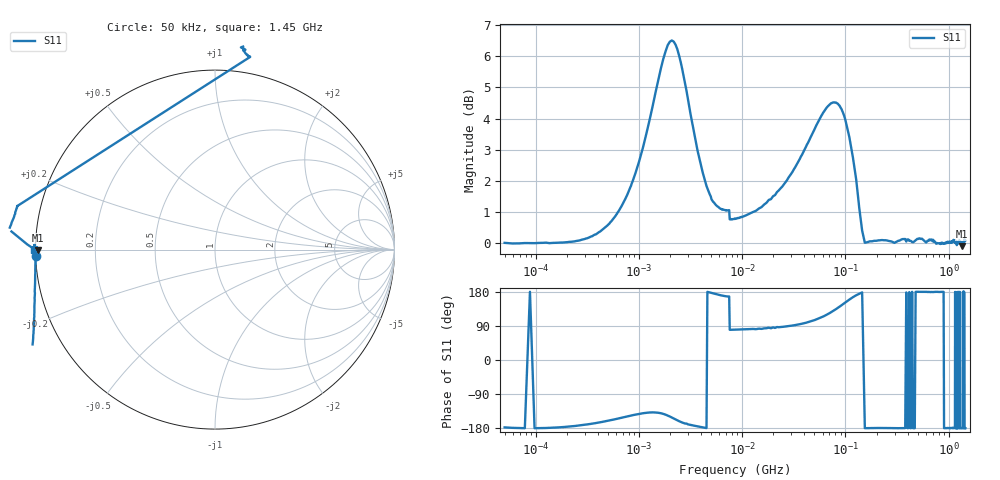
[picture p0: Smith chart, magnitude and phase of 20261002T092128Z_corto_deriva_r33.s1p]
! piloto_deriva / corto_deriva / r33
# HZ S RI R 50
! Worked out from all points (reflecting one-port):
!   501 points, 50 kHz to 1.45 GHz, reference 50 ohm
!   lowest |S11| = -0.1 dB at 1.351 GHz (marker M1), VSWR 166.84, Z = 0.3 - j0.0483 ohm
!   phase of S11 starts at -178 deg and turns -2 deg over the sweep
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50000  -0.9996 -0.038
183000  -1 -0.0522
363500  -1.004 -0.2249
658000  -1.014 -0.5109
1180000  -1.137 -0.9768
1630000  -1.47 -1.214
1990000  -1.807 -1.081
2170000  -1.899 -0.9137
2440000  -1.898 -0.6434
3160000  -1.592 -0.2416
4330000  -1.264 -0.0304
7300000  -1.102 0.2417
7750000  0.1945 1.075
8560000  0.1874 1.079
1.72e7  0.1229 1.154
3.16e7  -0.0342 1.312
4.69e7  -0.3233 1.453
6.76e7  -0.8592 1.419
7.93e7  -1.139 1.236
9.37e7  -1.355 0.899
9.82e7  -1.384 0.7835
1e8  -1.391 0.7382
1.18e8  -1.33 0.3382
1.36e8  -1.134 0.1009
1.63e8  -1.003 -0.00426
4.06e8  -1.013 -0.00335
1.351e9  -0.9881 -0.00191
1.45e9  -1.009 -0.00262
